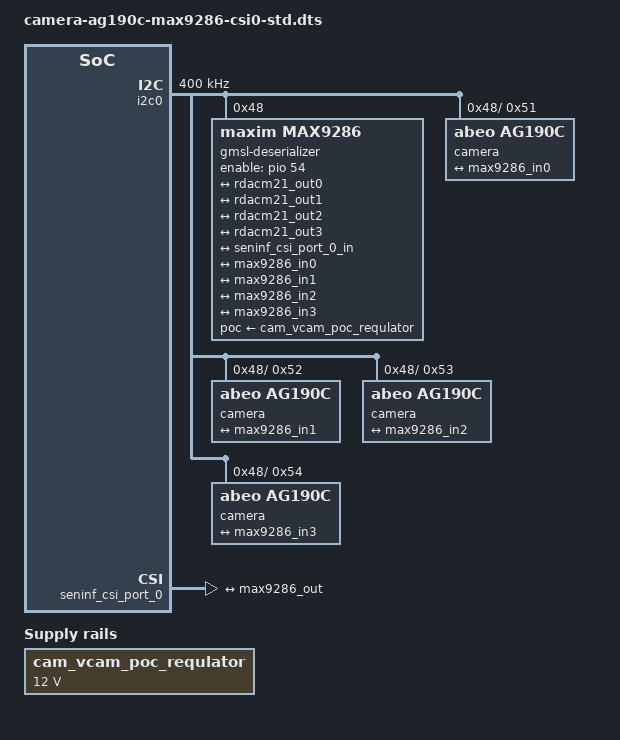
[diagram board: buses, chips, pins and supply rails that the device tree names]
// SPDX-License-Identifier: GPL-2.0
/*
 * Copyright (c) 2024 MediaTek Inc.
 *
 */

#include <dt-bindings/clock/mt8195-clk.h>
#include <dt-bindings/gpio/gpio.h>
#include <dt-bindings/pinctrl/mt8195-pinfunc.h>

/dts-v1/;
/plugin/;

#include "isp70.dtsi"

/ {
	fragment@4 {
		target-path = "/";
		__overlay__ {
			/* This dummy regulator is used for max9286 driver to probe */
			cam_vcam_poc_requlator: cam-vcam-poc-regulator {
				compatible = "regulator-fixed";
				regulator-name = "cam_vcam_poc_requlator";
				regulator-min-microvolt = <12000000>;
				regulator-max-microvolt = <12000000>;
				regulator-always-on;
			};
		};
	};

	fragment@5 {
		target = <&i2c0>;
		__overlay__ {
			clock-frequency = <400000>;
			gmsl-deserializer@2c {
				compatible = "maxim,max9286";
				reg = <0x48>;
				poc-supply = <&cam_vcam_poc_requlator>;
				enable-gpios = <&pio 54 GPIO_ACTIVE_HIGH>;

				gpio-controller;
				#gpio-cells = <2>;

				maxim,reverse-channel-microvolt = <200000>;

				ports {
					#address-cells = <1>;
					#size-cells = <0>;

					port@0 {
						reg = <0>;

						max9286_in0: endpoint {
							remote-endpoint = <&rdacm21_out0>;
						};
					};

					port@1 {
						reg = <1>;

						max9286_in1: endpoint {
							remote-endpoint = <&rdacm21_out1>;
						};
					};

					port@2 {
						reg = <2>;

						max9286_in2: endpoint {
							remote-endpoint = <&rdacm21_out2>;
						};
					};

					port@3 {
						reg = <3>;

						max9286_in3: endpoint {
							remote-endpoint = <&rdacm21_out3>;
						};
					};

					port@4 {
						reg = <4>;

						max9286_out: endpoint {
							data-lanes = <1 2 3 4>;
							remote-endpoint = <&seninf_csi_port_0_in>;
						};
					};
				};

				i2c-mux {
					#address-cells = <1>;
					#size-cells = <0>;

					i2c@0 {
						#address-cells = <1>;
						#size-cells = <0>;
						reg = <0>;

						camera@51 {
							compatible = "abeo,ag190c";
							reg = <0x51>, <0x61>;

							port {
								rdacm21_out0: endpoint {
									remote-endpoint = <&max9286_in0>;
								};
							};

						};
					};

					i2c@1 {
						#address-cells = <1>;
						#size-cells = <0>;
						reg = <1>;

						camera@52 {
							compatible = "abeo,ag190c";
							reg = <0x52>, <0x62>;

							port {
								rdacm21_out1: endpoint {
									remote-endpoint = <&max9286_in1>;
								};
							};
						};
					};

					i2c@2 {
						#address-cells = <1>;
						#size-cells = <0>;
						reg = <2>;

						camera@53 {
							compatible = "abeo,ag190c";
							reg = <0x53>, <0x63>;

							port {
								rdacm21_out2: endpoint {
									remote-endpoint = <&max9286_in2>;
								};
							};
						};
					};

					i2c@3 {
						#address-cells = <1>;
						#size-cells = <0>;
						reg = <3>;

						camera@54 {
							compatible = "abeo,ag190c";
							reg = <0x54>, <0x64>;

							port {
								rdacm21_out3: endpoint {
									remote-endpoint = <&max9286_in3>;
								};
							};
						};
					};
				};
			};
		};
	};

	fragment@6 {
		target = <&seninf_top>;
		__overlay__ {
			seninf_csi_port_0: seninf_csi_port_0 {
				compatible = "mediatek,seninf";
				csi-port = "0";
				settle_delay_ck = <0x00>;
				dphy_settle_delay_dt = <0x10>;
				hs_trail_parameter = <0x08>;

				port {
					seninf_csi_port_0_in: endpoint {
						remote-endpoint = <&max9286_out>;
						data-lanes = <1 2 3 4>;
					};
				};
			};
		};
	};

	fragment@7 {
		target = <&imgsys_fw>;
		__overlay__ {
			status = "disabled";
		};
	};

	fragment@8 {
		target = <&hcp>;
		__overlay__ {
			status = "disabled";
		};
	};

	fragment@9 {
		target-path = "/soc/imgsys_larb";
		__overlay__ {
			status = "disabled";
		};
	};

	fragment@10 {
		target = <&ipesys_me>;
		__overlay__ {
			status = "disabled";
		};
	};
};
